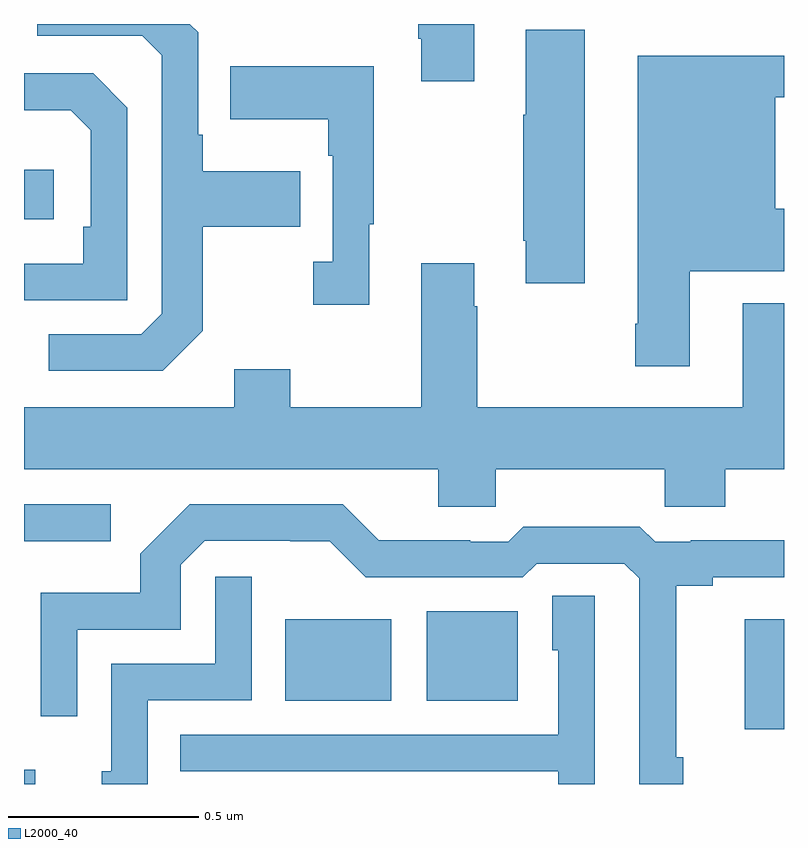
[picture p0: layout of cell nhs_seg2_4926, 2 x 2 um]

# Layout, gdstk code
import gdstk
lib = gdstk.Library(unit=1e-6, precision=1e-09)
def R(c, l, rs):  # rectangles x0, y0, x1, y1
    for r in rs: c.add(gdstk.rectangle(r[:2], r[2:], *l))
def P(c, l, *ps):  # polygons
    for p in ps: c.add(gdstk.Polygon(p, *l))
L2000_40 = (2000, 40)

nhs_seg2_4926 = lib.new_cell('nhs_seg2_4926')
R(nhs_seg2_4926, L2000_40, [(172,654.8,172.03,654.838), (173.897,654.944,174,655.234), (172.688,655.019,172.966,655.234), (173.06,655.019,173.299,655.255), (172,655.439,172.228,655.536), (172,656.286,172.078,656.416)])
P(nhs_seg2_4926, L2000_40, [(173.185,656.8),(173.038,656.8),(173.038,656.761),(173.045,656.761),(173.045,656.649),(173.185,656.649)],
  [(172.471,655.993),(172.471,656.266),(172.727,656.266),(172.727,656.413),(172.471,656.413),(172.471,656.509),(172.458,656.509),(172.458,656.778),(172.436,656.8),(172.035,656.8),(172.035,656.769),(172.311,656.769),(172.362,656.718),(172.362,656.037),(172.308,655.983),(172.065,655.983),(172.065,655.887),(172.365,655.887)],
  [(173.476,656.785),(173.321,656.785),(173.321,656.561),(173.314,656.561),(173.314,656.23),(173.321,656.23),(173.321,656.118),(173.476,656.118)],
  [(173.752,656.15),(174,656.15),(174,656.314),(173.977,656.314),(173.977,656.607),(174,656.607),(174,656.716),(173.615,656.716),(173.615,656.011),(173.608,656.011),(173.608,655.899),(173.752,655.899)],
  [(172.909,656.273),(172.921,656.273),(172.921,656.689),(172.543,656.689),(172.543,656.549),(172.8,656.549),(172.8,656.453),(172.812,656.453),(172.812,656.174),(172.761,656.174),(172.761,656.061),(172.909,656.061)],
  [(172.272,656.58),(172.182,656.67),(172,656.67),(172,656.573),(172.123,656.573),(172.176,656.52),(172.176,656.266),(172.156,656.266),(172.156,656.169),(172,656.169),(172,656.073),(172.272,656.073)],
  [(173.241,655.628),(173.686,655.628),(173.686,655.53),(173.846,655.53),(173.846,655.628),(174,655.628),(174,656.065),(173.891,656.065),(173.891,655.792),(173.193,655.792),(173.193,656.057),(173.185,656.057),(173.185,656.17),(173.045,656.17),(173.045,655.792),(172.701,655.792),(172.701,655.891),(172.553,655.891),(172.553,655.792),(172,655.792),(172,655.628),(173.09,655.628),(173.09,655.53),(173.241,655.53)],
  [(173.735,654.871),(173.717,654.871),(173.717,655.322),(173.812,655.322),(173.812,655.344),(174,655.344),(174,655.442),(173.755,655.442),(173.755,655.437),(173.661,655.437),(173.621,655.477),(173.314,655.477),(173.274,655.437),(173.174,655.437),(173.174,655.442),(172.934,655.442),(172.839,655.536),(172.436,655.536),(172.306,655.406),(172.306,655.303),(172.044,655.303),(172.044,654.978),(172.14,654.978),(172.14,655.206),(172.413,655.206),(172.413,655.377),(172.476,655.44),(172.7,655.44),(172.7,655.439),(172.805,655.439),(172.899,655.344),(173.313,655.344),(173.349,655.38),(173.58,655.38),(173.619,655.341),(173.619,654.8),(173.735,654.8)],
  [(172.326,655.02),(172.599,655.02),(172.599,655.345),(172.503,655.345),(172.503,655.116),(172.23,655.116),(172.23,654.834),(172.205,654.834),(172.205,654.8),(172.326,654.8)],
  [(173.502,655.295),(173.39,655.295),(173.39,655.152),(173.406,655.152),(173.406,654.93),(172.411,654.93),(172.411,654.834),(173.089,654.834),(173.089,654.833),(173.406,654.833),(173.406,654.8),(173.502,654.8)])

lib.write_gds('nhs_seg2_4926.gds')
